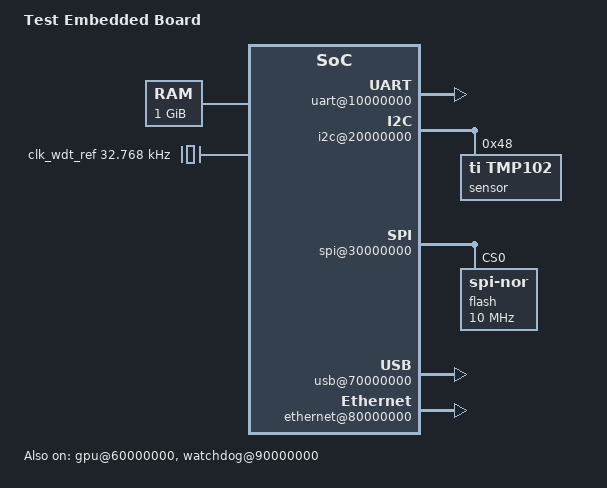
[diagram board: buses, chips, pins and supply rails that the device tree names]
/dts-v1/;

/ {
    model = "Test Embedded Board";
    compatible = "test,embedded-board";
    #address-cells = <1>;
    #size-cells = <1>;

    chosen {
        bootargs = "console=ttyAMA0,115200 root=/dev/mmcblk0p2";
    };

    memory@80000000 {
        reg = <0x80000000 0x40000000>;
    };

    cpus {
        #address-cells = <1>;
        #size-cells = <0>;

        cpu@0 {
            device_type = "cpu";
            compatible = "arm,cortex-a53";
            reg = <0x0>;
        };

        cpu@1 {
            device_type = "cpu";
            compatible = "arm,cortex-a53";
            reg = <0x1>;
        };
    };

    soc {
        #address-cells = <1>;
        #size-cells = <1>;
        compatible = "simple-bus";
        ranges;

        uart@10000000 {
            compatible = "arm,pl011", "arm,primecell";
            reg = <0x10000000 0x1000>;
            interrupts = <0 1 4>;
            clocks = <&clk_uart>;
            clock-names = "apb_pclk";
            status = "okay";
        };

        i2c@20000000 {
            compatible = "arm,pl024";
            reg = <0x20000000 0x1000>;
            interrupts = <0 2 4>;
            clocks = <&clk_i2c>;
            clock-names = "apb_pclk";
            #address-cells = <1>;
            #size-cells = <0>;
            status = "okay";

            sensor@48 {
                compatible = "ti,tmp102";
                reg = <0x48>;
            };
        };

        spi@30000000 {
            compatible = "arm,pl022";
            reg = <0x30000000 0x1000>;
            interrupts = <0 3 4>;
            clocks = <&clk_spi>;
            clock-names = "apb_pclk";
            #address-cells = <1>;
            #size-cells = <0>;
            status = "okay";

            flash@0 {
                compatible = "jedec,spi-nor";
                reg = <0>;
                spi-max-frequency = <10000000>;
            };
        };

        wifi@40000000 {
            compatible = "brcm,bcm4329-wifi";
            reg = <0x40000000 0x1000>;
            interrupts = <0 4 4>;
            clocks = <&clk_wifi>;
            clock-names = "ref";
            status = "disabled";
        };

        bluetooth@50000000 {
            compatible = "brcm,bcm4329-bt";
            reg = <0x50000000 0x1000>;
            interrupts = <0 5 4>;
            clocks = <&clk_bt>;
            clock-names = "ref";
            status = "disabled";
        };

        gpu@60000000 {
            compatible = "arm,mali-400";
            reg = <0x60000000 0x10000>;
            interrupts = <0 6 4>, <0 7 4>;
            clocks = <&clk_gpu>;
            clock-names = "bus";
            status = "okay";
        };

        usb@70000000 {
            compatible = "generic-ehci";
            reg = <0x70000000 0x1000>;
            interrupts = <0 8 4>;
            clocks = <&clk_usb>;
            clock-names = "apb_pclk";
            status = "okay";
        };

        ethernet@80000000 {
            compatible = "smsc,lan91c111";
            reg = <0x80000000 0x10000>;
            interrupts = <0 9 4>;
            clocks = <&clk_eth>;
            clock-names = "pclk";
            status = "okay";
        };

        watchdog@90000000 {
            compatible = "arm,sp805";
            reg = <0x90000000 0x1000>;
            interrupts = <0 10 4>;
            clocks = <&clk_wdt>, <&clk_wdt_ref>;
            clock-names = "apb_pclk", "wdog_clk";
            status = "okay";
        };
    };

    clk_uart: clk-uart {
        compatible = "fixed-clock";
        clock-frequency = <24000000>;
        #clock-cells = <0>;
    };

    clk_i2c: clk-i2c {
        compatible = "fixed-clock";
        clock-frequency = <100000000>;
        #clock-cells = <0>;
    };

    clk_spi: clk-spi {
        compatible = "fixed-clock";
        clock-frequency = <100000000>;
        #clock-cells = <0>;
    };

    clk_wifi: clk-wifi {
        compatible = "fixed-clock";
        clock-frequency = <32768>;
        #clock-cells = <0>;
    };

    clk_bt: clk-bt {
        compatible = "fixed-clock";
        clock-frequency = <32768>;
        #clock-cells = <0>;
    };

    clk_gpu: clk-gpu {
        compatible = "fixed-clock";
        clock-frequency = <400000000>;
        #clock-cells = <0>;
    };

    clk_usb: clk-usb {
        compatible = "fixed-clock";
        clock-frequency = <48000000>;
        #clock-cells = <0>;
    };

    clk_eth: clk-eth {
        compatible = "fixed-clock";
        clock-frequency = <25000000>;
        #clock-cells = <0>;
    };

    clk_wdt: clk-wdt {
        compatible = "fixed-clock";
        clock-frequency = <100000000>;
        #clock-cells = <0>;
    };

    clk_wdt_ref: clk-wdt-ref {
        compatible = "fixed-clock";
        clock-frequency = <32768>;
        #clock-cells = <0>;
    };
};
